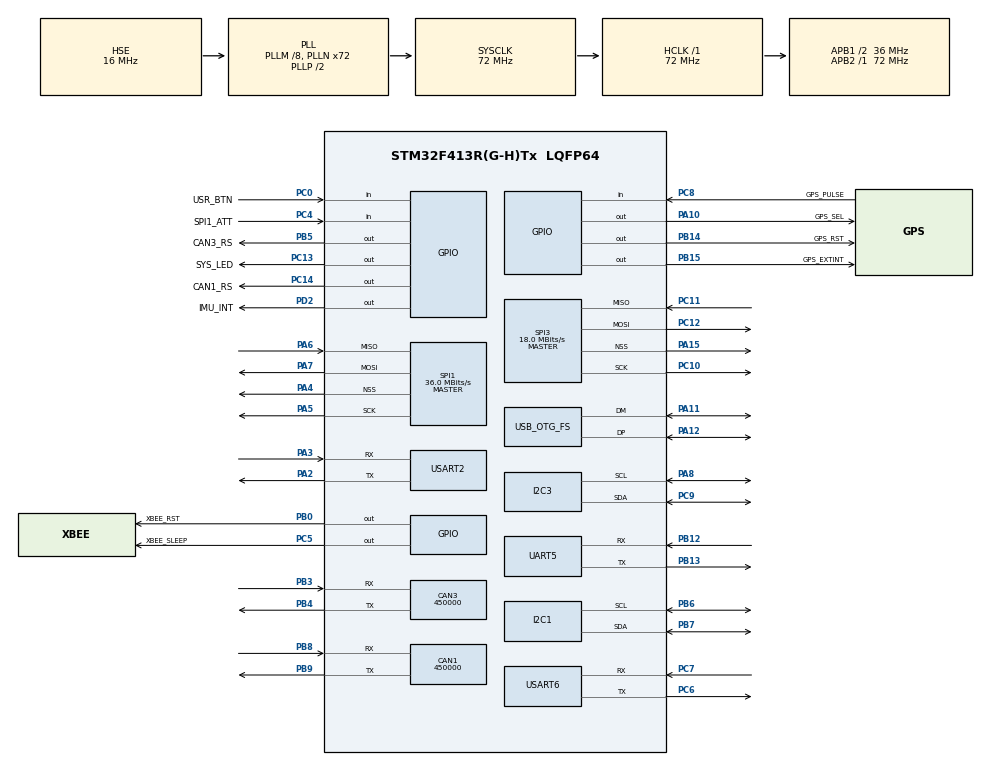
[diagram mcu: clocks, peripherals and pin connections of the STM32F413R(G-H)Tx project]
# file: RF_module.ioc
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CAN1.BS1=CAN_BS1_2TQ
CAN1.BS2=CAN_BS2_2TQ
CAN1.CalculateBaudRate=450000
CAN1.CalculateTimeBit=2222
CAN1.CalculateTimeQuantum=444.44444444444446
CAN3.BS1=CAN_BS1_2TQ
CAN3.BS2=CAN_BS2_2TQ
CAN3.CalculateBaudRate=450000
CAN3.CalculateTimeBit=2222
CAN3.CalculateTimeQuantum=444.44444444444446
Dma.I2C1_RX.0.Direction=DMA_PERIPH_TO_MEMORY
Dma.I2C1_RX.0.FIFOMode=DMA_FIFOMODE_DISABLE
Dma.I2C1_RX.0.Instance=DMA1_Stream0
Dma.I2C1_RX.0.MemDataAlignment=DMA_MDATAALIGN_BYTE
Dma.I2C1_RX.0.MemInc=DMA_MINC_ENABLE
Dma.I2C1_RX.0.Mode=DMA_NORMAL
Dma.I2C1_RX.0.PeriphDataAlignment=DMA_PDATAALIGN_BYTE
Dma.I2C1_RX.0.PeriphInc=DMA_PINC_DISABLE
Dma.I2C1_RX.0.Priority=DMA_PRIORITY_LOW
Dma.Request0=I2C1_RX
I2C1.I2C_Mode=I2C_Fast
Mcu.Family=STM32F4
Mcu.Name=STM32F413R(G-H)Tx
Mcu.Package=LQFP64
NVIC.DMA1_Stream0_IRQn=true\:0\:0\:false\:false\:true\:false\:true\:true
NVIC.I2C1_ER_IRQn=true\:0\:0\:false\:false\:true\:true\:true\:true
NVIC.I2C1_EV_IRQn=true\:0\:0\:false\:false\:true\:true\:true\:true
NVIC.OTG_FS_IRQn=true\:0\:0\:false\:false\:true\:false\:true\:true
NVIC.PriorityGroup=NVIC_PRIORITYGROUP_4
PA10.GPIO_Label=GPS_SEL
PA10.Signal=GPIO_Output
PA11.Mode=Device_Only
PA11.Signal=USB_OTG_FS_DM
PA12.Mode=Device_Only
PA12.Signal=USB_OTG_FS_DP
PA13.Mode=Serial_Wire
PA13.Signal=SYS_JTMS-SWDIO
PA14.Mode=Serial_Wire
PA14.Signal=SYS_JTCK-SWCLK
PA15.Mode=NSS_Signal_Hard_Output
PA15.Signal=SPI3_NSS
PA2.Mode=Asynchronous
PA2.Signal=USART2_TX
PA3.Mode=Asynchronous
PA3.Signal=USART2_RX
PA4.Mode=NSS_Signal_Hard_Output
PA4.Signal=SPI1_NSS
PA5.Mode=Full_Duplex_Master
PA5.Signal=SPI1_SCK
PA6.Mode=Full_Duplex_Master
PA6.Signal=SPI1_MISO
PA7.Mode=Full_Duplex_Master
PA7.Signal=SPI1_MOSI
PA8.Mode=I2C
PA8.Signal=I2C3_SCL
PB0.GPIO_Label=XBEE_RST
PB0.Signal=GPIO_Output
PB12.Mode=Asynchronous
PB12.Signal=UART5_RX
PB13.Mode=Asynchronous
PB13.Signal=UART5_TX
PB14.GPIO_Label=GPS_RST
PB14.Signal=GPIO_Output
PB15.GPIO_Label=GPS_EXTINT
PB15.Signal=GPIO_Output
PB3.Mode=CAN_Activate
PB3.Signal=CAN3_RX
PB4.Mode=CAN_Activate
PB4.Signal=CAN3_TX
PB5.GPIO_Label=CAN3_RS
PB5.Signal=GPIO_Output
PB6.Mode=I2C
PB6.Signal=I2C1_SCL
PB7.Mode=I2C
PB7.Signal=I2C1_SDA
PB8.Mode=CAN_Activate
PB8.Signal=CAN1_RX
PB9.Mode=CAN_Activate
PB9.Signal=CAN1_TX
PC0.GPIO_Label=USR_BTN
PC0.Signal=GPIO_Input
PC10.Mode=Full_Duplex_Master
PC10.Signal=SPI3_SCK
PC11.Mode=Full_Duplex_Master
PC11.Signal=SPI3_MISO
PC12.Mode=Full_Duplex_Master
PC12.Signal=SPI3_MOSI
PC13.GPIO_Label=SYS_LED
PC13.Signal=GPIO_Output
PC14-OSC32_IN.GPIO_Label=CAN1_RS
PC14-OSC32_IN.Signal=GPIO_Output
PC4.GPIO_Label=SPI1_ATT
PC4.Signal=GPIO_Input
PC5.GPIO_Label=XBEE_SLEEP
PC5.Signal=GPIO_Output
PC6.Mode=Asynchronous
PC6.Signal=USART6_TX
PC7.Mode=Asynchronous
PC7.Signal=USART6_RX
PC8.GPIO_Label=GPS_PULSE
PC8.Signal=GPIO_Input
PC9.Mode=I2C
PC9.Signal=I2C3_SDA
PD2.GPIO_Label=IMU_INT
PD2.Signal=GPIO_Output
PH0\ -\ OSC_IN.Mode=HSE-External-Oscillator
PH0\ -\ OSC_IN.Signal=RCC_OSC_IN
PH1\ -\ OSC_OUT.Mode=HSE-External-Oscillator
PH1\ -\ OSC_OUT.Signal=RCC_OSC_OUT
ProjectManager.HeapSize=0x200
ProjectManager.StackSize=0x400
ProjectManager.TargetToolchain=STM32CubeIDE
RCC.AHBFreq_Value=72000000
RCC.APB1CLKDivider=RCC_HCLK_DIV2
RCC.APB1Freq_Value=36000000
RCC.APB1TimFreq_Value=72000000
RCC.APB2Freq_Value=72000000
RCC.APB2TimFreq_Value=72000000
RCC.CortexFreq_Value=72000000
RCC.HCLKFreq_Value=72000000
RCC.HSE_VALUE=16000000
RCC.PLLI2SM=8
RCC.PLLI2SN=72
RCC.PLLI2SQ=3
RCC.PLLM=8
RCC.PLLN=72
RCC.PLLQ=3
RCC.PLLSourceVirtual=RCC_PLLSOURCE_HSE
RCC.SYSCLKFreq_VALUE=72000000
RCC.SYSCLKSource=RCC_SYSCLKSOURCE_PLLCLK
RCC.USBFreq_Value=48000000
RCC.VCOOutputFreq_Value=144000000
SPI1.BaudRatePrescaler=SPI_BAUDRATEPRESCALER_2
SPI1.CalculateBaudRate=36.0 MBits/s
SPI1.Direction=SPI_DIRECTION_2LINES
SPI1.Mode=SPI_MODE_MASTER
SPI1.VirtualNSS=VM_NSSHARD
SPI1.VirtualType=VM_MASTER
SPI3.BaudRatePrescaler=SPI_BAUDRATEPRESCALER_2
SPI3.CalculateBaudRate=18.0 MBits/s
SPI3.Direction=SPI_DIRECTION_2LINES
SPI3.Mode=SPI_MODE_MASTER
SPI3.VirtualNSS=VM_NSSHARD
SPI3.VirtualType=VM_MASTER
UART5.VirtualMode=Asynchronous
USART2.VirtualMode=VM_ASYNC
USART6.VirtualMode=VM_ASYNC
USB_DEVICE.CLASS_NAME_FS=CDC
USB_DEVICE.VirtualMode=Cdc
USB_DEVICE.VirtualModeFS=Cdc_FS
USB_OTG_FS.VirtualMode=Device_Only
VP_CRC_VS_CRC.Mode=CRC_Activate
VP_TIM6_VS_ClockSourceINT.Mode=Enable_Timer
VP_TIM6_VS_OPM.Mode=OPM_bit
VP_USB_DEVICE_VS_USB_DEVICE_CDC_FS.Mode=CDC_FS
board=custom

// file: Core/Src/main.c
/* USER CODE BEGIN Header */
/**
  ******************************************************************************
  * @file           : main.c
  * @brief          : Main program body
  ******************************************************************************
  * @attention
  *
  * Copyright (c) 2023 STMicroelectronics.
  * All rights reserved.
  *
  * This software is licensed under terms that can be found in the LICENSE file
  * in the root directory of this software component.
  * If no LICENSE file comes with this software, it is provided AS-IS.
  *
  ******************************************************************************
  */
/* USER CODE END Header */
#include "main.h"
#include "can.h"
#include "crc.h"
#include "i2c.h"
#include "spi.h"
#include "tim.h"
#include "usart.h"
#include "usb_device.h"
#include "gpio.h"

/* USER CODE BEGIN Includes */
#include "MPU6050.h"
#include "usbd_cdc_if.h"
/* USER CODE END Includes */

/* USER CODE BEGIN PV */
MPU6050_t MPU6050;
uint8_t DataToSend[40];
uint8_t MessageCounter = 0;
uint8_t MessageLength = 0;
/* USER CODE END PV */

void SystemClock_Config(void);

int main(void)
{

  /* MCU Configuration--------------------------------------------------------*/

  /* Reset of all peripherals, Initializes the Flash interface and the Systick. */
  HAL_Init();

  /* Configure the system clock */
  SystemClock_Config();

  /* Initialize all configured peripherals */
  MX_GPIO_Init();
  MX_CAN1_Init();
  MX_CAN3_Init();
  MX_I2C1_Init();
  MX_I2C3_Init();
  MX_SPI1_Init();
  MX_SPI3_Init();
  MX_UART5_Init();
  MX_USART2_UART_Init();
  MX_USART6_UART_Init();
  MX_CRC_Init();
  MX_TIM6_Init();
  MX_USB_DEVICE_Init();
  /* USER CODE BEGIN 2 */
  while (MPU6050_Init(&hi2c1) == 1);
  /* USER CODE END 2 */

  /* Infinite loop */
  while (1)
  {
    //blink built in led in 2 second intervals

    /* USER CODE BEGIN 3 */
     HAL_GPIO_WritePin(GPIOC, GPIO_PIN_13, GPIO_PIN_SET);
      HAL_Delay(2000);
      HAL_GPIO_WritePin(GPIOC, GPIO_PIN_13, GPIO_PIN_RESET);
      HAL_Delay(2000);
      MPU6050_Read_All(&hi2c1, &MPU6050);
      int x = MPU6050.KalmanAngleX;
      int y = MPU6050.KalmanAngleY;
      ++MessageCounter;
			MessageLength = sprintf(DataToSend, "X =  %d\n\r", x);
			CDC_Transmit_FS(DataToSend, MessageLength);
      MessageLength = sprintf(DataToSend, "Y = %d\n\r", y);
      CDC_Transmit_FS(DataToSend, MessageLength);

      HAL_Delay (100);
  }
  /* USER CODE END 3 */
}

void SystemClock_Config(void)
{
  RCC_OscInitTypeDef RCC_OscInitStruct = {0};
  RCC_ClkInitTypeDef RCC_ClkInitStruct = {0};

  /** Configure the main internal regulator output voltage
  */
  __HAL_RCC_PWR_CLK_ENABLE();
  __HAL_PWR_VOLTAGESCALING_CONFIG(PWR_REGULATOR_VOLTAGE_SCALE1);

  /** Initializes the RCC Oscillators according to the specified parameters
  * in the RCC_OscInitTypeDef structure.
  */
  RCC_OscInitStruct.OscillatorType = RCC_OSCILLATORTYPE_HSE;
  RCC_OscInitStruct.HSEState = RCC_HSE_ON;
  RCC_OscInitStruct.PLL.PLLState = RCC_PLL_ON;
  RCC_OscInitStruct.PLL.PLLSource = RCC_PLLSOURCE_HSE;
  RCC_OscInitStruct.PLL.PLLM = 8;
  RCC_OscInitStruct.PLL.PLLN = 72;
  RCC_OscInitStruct.PLL.PLLP = RCC_PLLP_DIV2;
  RCC_OscInitStruct.PLL.PLLQ = 3;
  RCC_OscInitStruct.PLL.PLLR = 2;
  if (HAL_RCC_OscConfig(&RCC_OscInitStruct) != HAL_OK)
  {
    Error_Handler();
  }

  /** Initializes the CPU, AHB and APB buses clocks
  */
  RCC_ClkInitStruct.ClockType = RCC_CLOCKTYPE_HCLK|RCC_CLOCKTYPE_SYSCLK
                              |RCC_CLOCKTYPE_PCLK1|RCC_CLOCKTYPE_PCLK2;
  RCC_ClkInitStruct.SYSCLKSource = RCC_SYSCLKSOURCE_PLLCLK;
  RCC_ClkInitStruct.AHBCLKDivider = RCC_SYSCLK_DIV1;
  RCC_ClkInitStruct.APB1CLKDivider = RCC_HCLK_DIV2;
  RCC_ClkInitStruct.APB2CLKDivider = RCC_HCLK_DIV1;

  if (HAL_RCC_ClockConfig(&RCC_ClkInitStruct, FLASH_LATENCY_2) != HAL_OK)
  {
    Error_Handler();
  }
}

void Error_Handler(void)
{
  __disable_irq();
  while (1)
  {
  }
}
